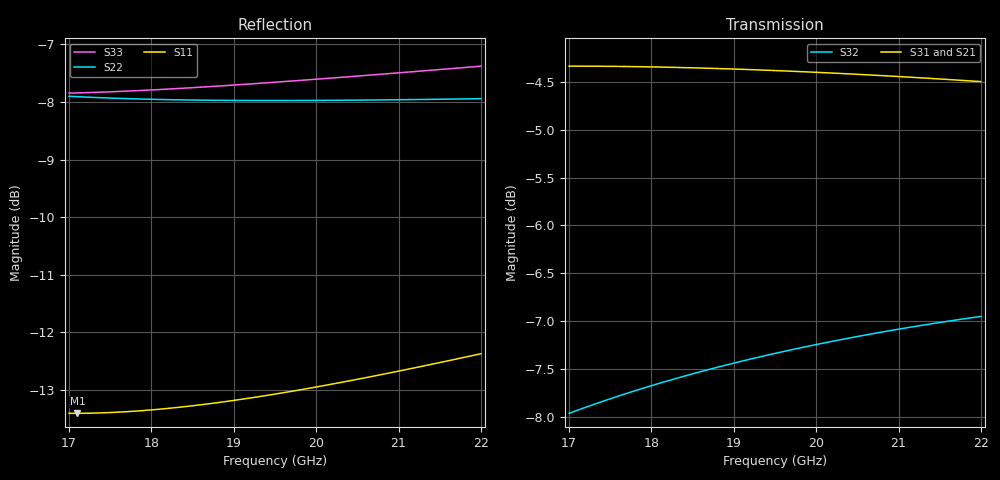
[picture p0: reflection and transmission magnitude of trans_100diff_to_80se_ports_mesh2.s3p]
#  GHZ S DB R 50.0
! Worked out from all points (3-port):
!   51 points, 17 GHz to 22 GHz, reference 50 ohm
!   strongest paths, dB at 17 GHz, 18.2 GHz, 19.5 GHz, 20.8 GHz, 22 GHz:
!     S31: -4.3, -4.3, -4.4, -4.4, -4.5
!     S21: -4.5, -4.4, -4.4, -4.4, -4.4
!     S32: -8.0, -7.6, -7.3, -7.1, -6.9
!   lowest |S11| = -13.4 dB at 17.1 GHz (marker M1), VSWR 1.54, Z = 76.1 + j7 ohm
!   |S11| at or under -10 dB: start of sweep to end of sweep
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17  -13.40 13.2  -4.47 -173.1  -4.34 6.5
    -4.47 -173.1  -7.90 95.6  -7.96 73.7
    -4.34 6.5  -7.96 73.7  -7.84 92.6
17.1  -13.40 11.9  -4.47 -173.8  -4.34 5.8
      -4.47 -173.8  -7.91 94.6  -7.93 73.0
      -4.34 5.8  -7.93 73.0  -7.84 91.7
17.7  -13.37 4.2  -4.44 -178.1  -4.34 1.7
      -4.44 -178.1  -7.94 89.0  -7.75 68.9
      -4.34 1.7  -7.75 68.9  -7.81 86.2
18.3  -13.30 -3.0  -4.42 177.7  -4.35 -2.2
      -4.42 177.7  -7.96 83.8  -7.60 65.0
      -4.35 -2.2  -7.60 65.0  -7.77 81.2
18.9  -13.20 -9.7  -4.41 173.7  -4.36 -6.0
      -4.41 173.7  -7.97 78.9  -7.46 61.3
      -4.36 -6.0  -7.46 61.3  -7.71 76.5
19.5  -13.07 -15.9  -4.40 169.8  -4.38 -9.7
      -4.40 169.8  -7.97 74.4  -7.34 57.8
      -4.38 -9.7  -7.34 57.8  -7.66 72.2
20.1  -12.92 -21.8  -4.39 166.1  -4.40 -13.3
      -4.39 166.1  -7.97 70.2  -7.23 54.4
      -4.40 -13.3  -7.23 54.4  -7.59 68.1
20.7  -12.76 -27.3  -4.39 162.4  -4.43 -16.8
      -4.39 162.4  -7.96 66.3  -7.13 51.2
      -4.43 -16.8  -7.13 51.2  -7.53 64.4
21.3  -12.58 -32.4  -4.39 158.8  -4.46 -20.2
      -4.39 158.8  -7.95 62.7  -7.04 48.0
      -4.46 -20.2  -7.04 48.0  -7.46 60.9
22  -12.37 -38.1  -4.39 154.7  -4.50 -24.0
    -4.39 154.7  -7.94 58.8  -6.95 44.5
    -4.50 -24.0  -6.95 44.5  -7.38 57.1
